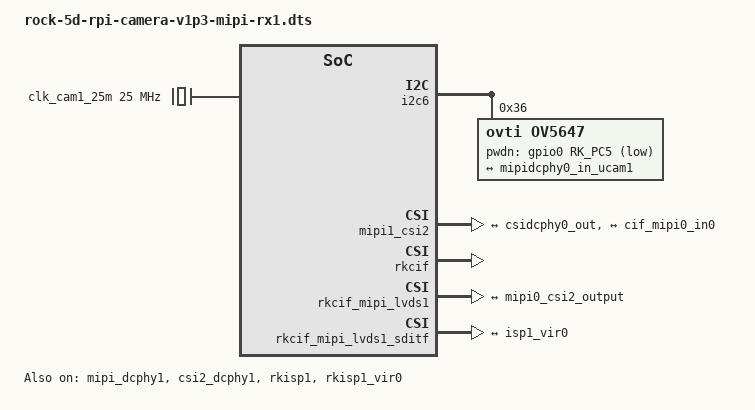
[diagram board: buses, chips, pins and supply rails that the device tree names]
/dts-v1/;
/plugin/;

#include <dt-bindings/gpio/gpio.h>
#include <dt-bindings/pinctrl/rockchip.h>

/ {
	metadata {
		title ="Enable Raspberry Pi Camera v1.3 on the MIPI-RX1 connector";
		compatible = "radxa,rock-5d";
		category = "camera";
		exclusive = "csi2_dcphy1";
		description = "Enable Raspberry Pi Camera v1.3 on the MIPI-RX1 connector.";
	};
};

&{/} {
	clk_cam1_25m: external-camera-clock-25m {
		compatible = "fixed-clock";
		clock-frequency = <25000000>;
		clock-output-names = "clk_cam1_25m";
		#clock-cells = <0>;
	};
};

&i2c6 {
	status = "okay";
	pinctrl-names = "default";
	pinctrl-0 = <&i2c6m0_xfer>;
	
	ov5647: ov5647@36 {
		status = "okay";
		compatible = "ovti,ov5647";
		reg = <0x36>;
		clocks = <&clk_cam1_25m>;
		pwdn-gpios = <&gpio0 RK_PC5 GPIO_ACTIVE_LOW>;
		clock-names = "ext_cam_clk";
		rockchip,camera-module-index = <1>;
		rockchip,camera-module-facing = "back";
		rockchip,camera-module-name = "rpi-camera-v1p3";
		rockchip,camera-module-lens-name = "default";

		port {
			ov5647_out1: endpoint {
				remote-endpoint = <&mipidcphy0_in_ucam1>;
				data-lanes = <1 2>;
			};
		};
	};	
};

&mipi_dcphy1 {
	status = "okay";
};

&csi2_dcphy1 {
	status = "okay";

	ports {
		#address-cells = <1>;
		#size-cells = <0>;

		port@0 {
			reg = <0>;
			#address-cells = <1>;
			#size-cells = <0>;

			mipidcphy0_in_ucam1: endpoint@2 {
				reg = <2>;
				remote-endpoint = <&ov5647_out1>;
				data-lanes = <1 2>;
			};
		};

		port@1 {
			reg = <1>;
			#address-cells = <1>;
			#size-cells = <0>;

			csidcphy0_out: endpoint@0 {
				reg = <0>;
				remote-endpoint = <&mipi0_csi2_input>;
			};
		};
	};
};

&mipi1_csi2 {
	status = "okay";

	ports {
		#address-cells = <1>;
		#size-cells = <0>;

		port@0 {
			reg = <0>;
			#address-cells = <1>;
			#size-cells = <0>;

			mipi0_csi2_input: endpoint@1 {
				reg = <1>;
				remote-endpoint = <&csidcphy0_out>;
			};
		};

		port@1 {
			reg = <1>;
			#address-cells = <1>;
			#size-cells = <0>;

			mipi0_csi2_output: endpoint@0 {
				reg = <0>;
				remote-endpoint = <&cif_mipi0_in0>;
			};
		};
	};
};

&rkcif {
	status = "okay";
};

&rkcif_mipi_lvds1 {
	status = "okay";

	port {
		cif_mipi0_in0: endpoint {
			remote-endpoint = <&mipi0_csi2_output>;
		};
	};
};

&rkcif_mipi_lvds1_sditf {
	status = "okay";

	port {
		mipi_lvds_sditf: endpoint {
			remote-endpoint = <&isp1_vir0>;
		};
	};
};

&rkcif_mmu {
	status = "okay";
};

&isp1_mmu {
	status = "okay";
};

&rkisp1 {
	status = "okay";
};

&rkisp1_vir0 {
	status = "okay";

	port {
		#address-cells = <1>;
		#size-cells = <0>;

		isp1_vir0: endpoint@0 {
			reg = <0>;
			remote-endpoint = <&mipi_lvds_sditf>;
		};
	};
};
